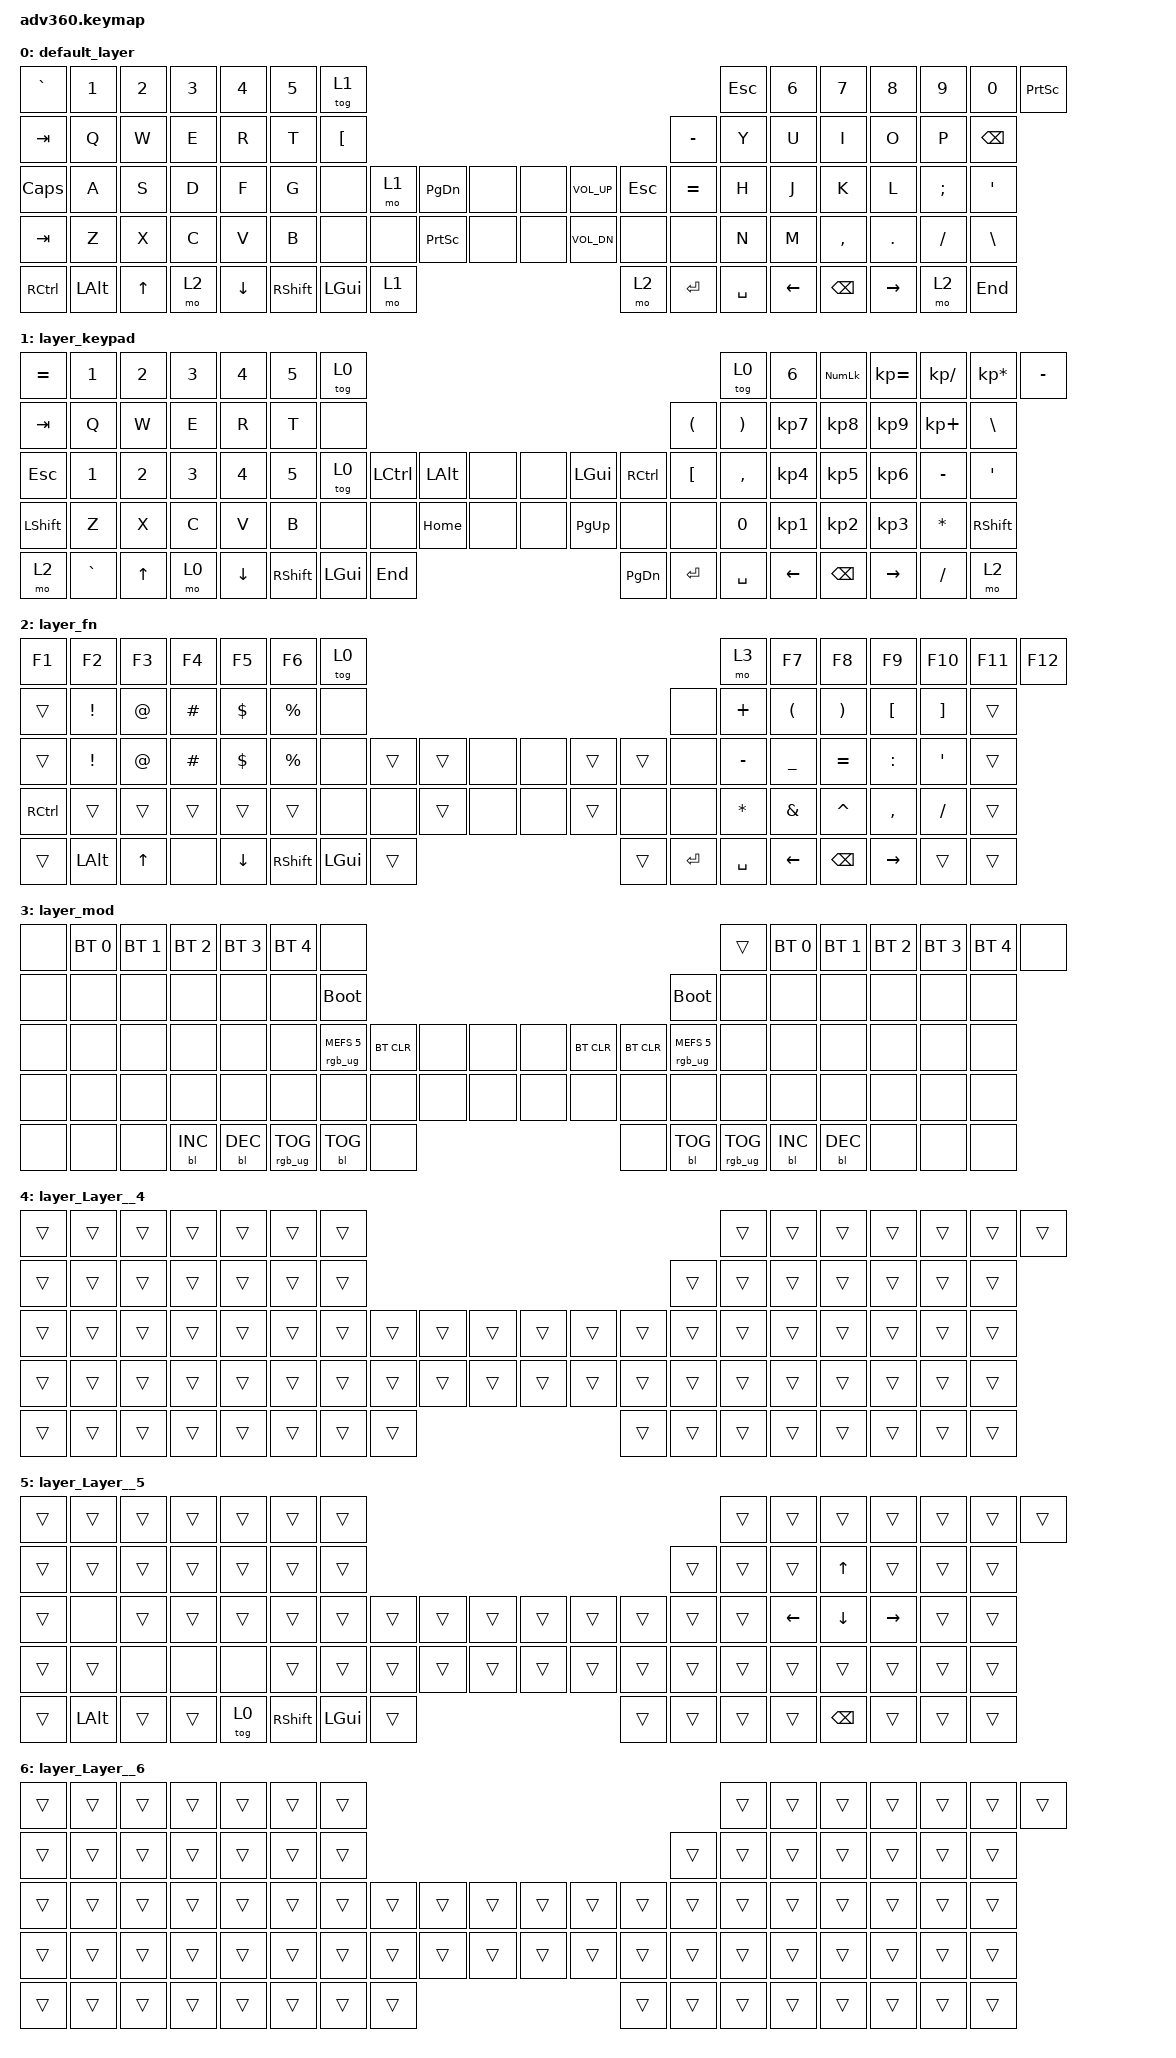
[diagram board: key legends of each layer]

/*
 * Copyright (c) 2020 The ZMK Contributors
 *
 * SPDX-License-Identifier: MIT
 */


/* THIS FILE WAS GENERATED!
 *
 * This file was generated automatically. You may or may not want to
 * edit it directly.
 */

#include <behaviors.dtsi>
#include <dt-bindings/zmk/keys.h>
#include <dt-bindings/zmk/bt.h>
#include <dt-bindings/zmk/rgb.h>
#include <dt-bindings/zmk/backlight.h>

/ {
  behaviors {
    #include "macros.dtsi"

    hm: homerow_mods {
        compatible = "zmk,behavior-hold-tap";
        label = "HOMEROW_MODS";
        #binding-cells = <2>;
        tapping-term-ms = <200>;
        quick_tap_ms = <175>;
        flavor = "tap-preferred";
        bindings = <&kp>, <&kp>;
    };
  };

    keymap {
        compatible = "zmk,keymap";


        default_layer {
            bindings = <
    &kp GRAVE    &kp N1  &kp N2  &kp NUMBER_3    &kp N4  &kp N5                &tog 1                                                                         &kp ESC  &kp N6    &kp N7     &kp N8     &kp N9    &kp N0  &kp PSCRN
      &kp TAB     &kp Q   &kp W         &kp E     &kp R   &kp T              &kp LBKT                                                                       &kp MINUS   &kp Y     &kp U      &kp I      &kp O     &kp P   &kp BSPC
 &kp CAPSLOCK     &kp A   &kp S         &kp D     &kp F   &kp G                 &none     &mo 1    &kp PAGE_DOWN   &none   &none  &kp C_VOL_UP     &kp ESC  &kp EQUAL   &kp H     &kp J      &kp K      &kp L  &kp SEMI    &kp SQT
      &kp TAB     &kp Z   &kp X         &kp C     &kp V   &kp B                 &none     &none  &kp PRINTSCREEN   &none   &none  &kp C_VOL_DN       &none      &none   &kp N     &kp M  &kp COMMA    &kp DOT  &kp FSLH   &kp BSLH
    &kp RCTRL  &kp LALT  &kp UP         &mo 2  &kp DOWN                    &kp RSHIFT  &kp LGUI            &mo 1                         &mo 2  &kp RETURN  &kp SPACE          &kp LEFT   &kp BSPC  &kp RIGHT     &mo 2    &kp END
            >;
        };

        layer_keypad {
            bindings = <
 &kp EQUAL        &kp N1        &kp N2        &kp N3        &kp N4        &kp N5                &tog 0                                                                           &tog 0                 &kp N6       &kp KP_NUM     &kp KP_EQUAL    &kp KP_DIVIDE  &kp KP_MULTIPLY  &kp MINUS
   &kp TAB         &kp Q         &kp W         &kp E         &kp R         &kp T                 &none                                                             &kp LEFT_PARENTHESIS  &kp RIGHT_PARENTHESIS        &kp KP_N7        &kp KP_N8        &kp KP_N9      &kp KP_PLUS   &kp BSLH
   &kp ESC  &kp NUMBER_1  &kp NUMBER_2  &kp NUMBER_3  &kp NUMBER_4  &kp NUMBER_5                &tog 0  &kp LCTRL  &kp LALT   &none   &none   &kp LGUI  &kp RCTRL              &kp LBKT              &kp COMMA  &kp KP_NUMBER_4  &kp KP_NUMBER_5  &kp KP_NUMBER_6        &kp MINUS    &kp SQT
 &kp LSHFT         &kp Z         &kp X         &kp C         &kp V         &kp B                 &none      &none  &kp HOME   &none   &none  &kp PG_UP      &none                 &none           &kp NUMBER_0  &kp KP_NUMBER_1  &kp KP_NUMBER_2  &kp KP_NUMBER_3         &kp STAR  &kp RSHFT
     &mo 2     &kp GRAVE        &kp UP         &mo 0      &kp DOWN                          &kp RSHIFT   &kp LGUI   &kp END                  &kp PG_DN  &kp ENTER             &kp SPACE                                &kp LEFT    &kp BACKSPACE        &kp RIGHT        &kp SLASH      &mo 2
            >;
        };

        layer_fn {
            bindings = <
    &kp F1           &kp F2       &kp F3    &kp F4      &kp F5       &kp F6                     &tog 0                                                            &mo 3     &kp F7                &kp F8                 &kp F9    &kp F10           &kp F11  &kp F12
    &trans  &kp EXCLAMATION  &kp AT_SIGN  &kp HASH  &kp DOLLAR  &kp PERCENT                      &none                                                            &none   &kp PLUS  &kp LEFT_PARENTHESIS  &kp RIGHT_PARENTHESIS   &kp LBKT          &kp RBKT   &trans
    &trans         &kp EXCL       &kp AT  &kp HASH    &kp DLLR    &kp PRCNT                      &none    &trans  &trans   &none   &none  &trans      &trans      &none  &kp MINUS             &kp UNDER              &kp EQUAL  &kp COLON  &kp SINGLE_QUOTE   &trans
 &kp RCTRL           &trans       &trans    &trans      &trans       &trans                      &none     &none  &trans   &none   &none  &trans       &none      &none   &kp STAR         &kp AMPERSAND              &kp CARET  &kp COMMA         &kp SLASH   &trans
    &trans         &kp LALT       &kp UP     &none    &kp DOWN                         &kp RIGHT_SHIFT  &kp LGUI  &trans                  &trans  &kp RETURN  &kp SPACE                         &kp LEFT               &kp BSPC  &kp RIGHT            &trans   &trans
            >;
        };

        layer_mod {
            bindings = <
  &none  &bt BT_SEL 0  &bt BT_SEL 1  &bt BT_SEL 2  &bt BT_SEL 3  &bt BT_SEL 4                             &none                                                                              &trans  &bt BT_SEL 0  &bt BT_SEL 1  &bt BT_SEL 2  &bt BT_SEL 3  &bt BT_SEL 4   &none
  &none         &none         &none         &none         &none         &none                       &bootloader                                                                         &bootloader         &none         &none         &none         &none         &none   &none
  &none         &none         &none         &none         &none         &none            &rgb_ug RGB_MEFS_CMD 5  &bt BT_CLR   &none   &none   &none  &bt BT_CLR  &bt BT_CLR  &rgb_ug RGB_MEFS_CMD 5         &none         &none         &none         &none         &none   &none
  &none         &none         &none         &none         &none         &none                             &none       &none   &none   &none   &none       &none       &none                   &none         &none         &none         &none         &none         &none   &none
  &none         &none         &none    &bl BL_INC    &bl BL_DEC                                 &rgb_ug RGB_TOG  &bl BL_TOG   &none                       &none  &bl BL_TOG         &rgb_ug RGB_TOG                  &bl BL_INC    &bl BL_DEC         &none         &none   &none
            >;
        };

        layer_Layer__4 {
            bindings = <
 &trans  &trans  &trans  &trans  &trans  &trans            &trans                                                  &trans  &trans  &trans  &trans  &trans  &trans  &trans
 &trans  &trans  &trans  &trans  &trans  &trans            &trans                                                  &trans  &trans  &trans  &trans  &trans  &trans  &trans
 &trans  &trans  &trans  &trans  &trans  &trans            &trans  &trans  &trans  &trans  &trans  &trans  &trans  &trans  &trans  &trans  &trans  &trans  &trans  &trans
 &trans  &trans  &trans  &trans  &trans  &trans            &trans  &trans  &trans  &trans  &trans  &trans  &trans  &trans  &trans  &trans  &trans  &trans  &trans  &trans
 &trans  &trans  &trans  &trans  &trans                    &trans  &trans  &trans                  &trans  &trans  &trans          &trans  &trans  &trans  &trans  &trans
            >;
        };

        layer_Layer__5 {
            bindings = <
 &trans    &trans  &trans  &trans  &trans  &trans                     &trans                                                    &trans  &trans    &trans    &trans     &trans  &trans  &trans
 &trans    &trans  &trans  &trans  &trans  &trans                     &trans                                                    &trans  &trans    &trans    &kp UP     &trans  &trans  &trans
 &trans     &none  &trans  &trans  &trans  &trans                     &trans    &trans  &trans  &trans  &trans  &trans  &trans  &trans  &trans  &kp LEFT  &kp DOWN  &kp RIGHT  &trans  &trans
 &trans    &trans   &none   &none   &none  &trans                     &trans    &trans  &trans  &trans  &trans  &trans  &trans  &trans  &trans    &trans    &trans     &trans  &trans  &trans
 &trans  &kp LALT  &trans  &trans  &tog 0                    &kp RIGHT_SHIFT  &kp LGUI  &trans                  &trans  &trans  &trans            &trans  &kp BSPC     &trans  &trans  &trans
            >;
        };

        layer_Layer__6 {
            bindings = <
 &trans  &trans  &trans  &trans  &trans  &trans            &trans                                                  &trans  &trans  &trans  &trans  &trans  &trans  &trans
 &trans  &trans  &trans  &trans  &trans  &trans            &trans                                                  &trans  &trans  &trans  &trans  &trans  &trans  &trans
 &trans  &trans  &trans  &trans  &trans  &trans            &trans  &trans  &trans  &trans  &trans  &trans  &trans  &trans  &trans  &trans  &trans  &trans  &trans  &trans
 &trans  &trans  &trans  &trans  &trans  &trans            &trans  &trans  &trans  &trans  &trans  &trans  &trans  &trans  &trans  &trans  &trans  &trans  &trans  &trans
 &trans  &trans  &trans  &trans  &trans                    &trans  &trans  &trans                  &trans  &trans  &trans          &trans  &trans  &trans  &trans  &trans
            >;
        };

    };
};
